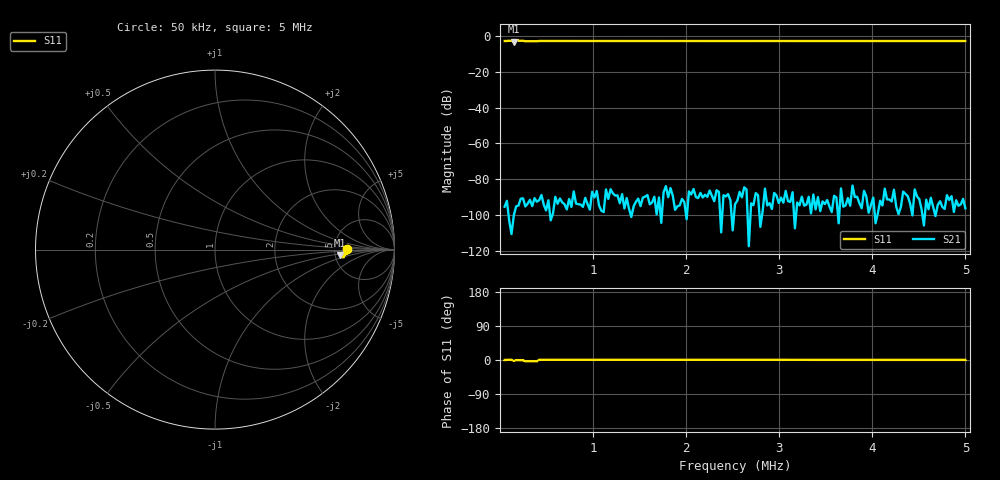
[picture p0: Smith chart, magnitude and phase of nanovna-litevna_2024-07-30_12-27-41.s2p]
! NanoVNA-App by OneOfEleven et al v1.1.209 (+OD15)
! Date: 2024-07-30 12:27:48
! Start: 50kHz Stop: 5MHz Points: 201
! S-Parameter data: F S11 S21 S12 S22
# Hz S RI R 50
!  Frequency  S11_Real  S11_Imag  S21_Real  S21_Imag  S12_Real  S12_Imag  S22_Real  S22_Imag
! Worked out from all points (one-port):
!   201 points, 50 kHz to 5 MHz, reference 50 ohm
!   lowest |S11| = -3.1 dB at 149 kHz (marker M1), VSWR 5.62, Z = 277 - j34.5 ohm
!   |S11| at or under -10 dB: nowhere
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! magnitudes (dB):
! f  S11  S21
! 50 kHz  -2.7  -95.5
! 74.75 kHz  -2.7  -92.2
! 99.5 kHz  -2.5  -103.4
! 124.2 kHz  -2.5  -110.8
! 149 kHz  -3.1  -100.3
! 173.8 kHz  -2.4  -95.3
! 248 kHz  -2.5  -90.8
! 272.8 kHz  -3.0  -95.3
! 396.5 kHz  -2.9  -92.7
! 421.2 kHz  -2.7  -91.8
! 891.5 kHz  -2.7  -95.6
! 1.288 MHz  -2.7  -93.5
! 1.461 MHz  -2.7  -92.7
! 1.535 MHz  -2.7  -90.4
! 1.708 MHz  -2.7  -90.3
! 2.104 MHz  -2.7  -90.0
! 2.525 MHz  -2.7  -94.1
! 3.366 MHz  -2.7  -88.6
! 4.159 MHz  -2.7  -91.4
! 4.183 MHz  -2.7  -91.4
! 4.307 MHz  -2.7  -95.6
! 5 MHz  -2.7  -96.4
